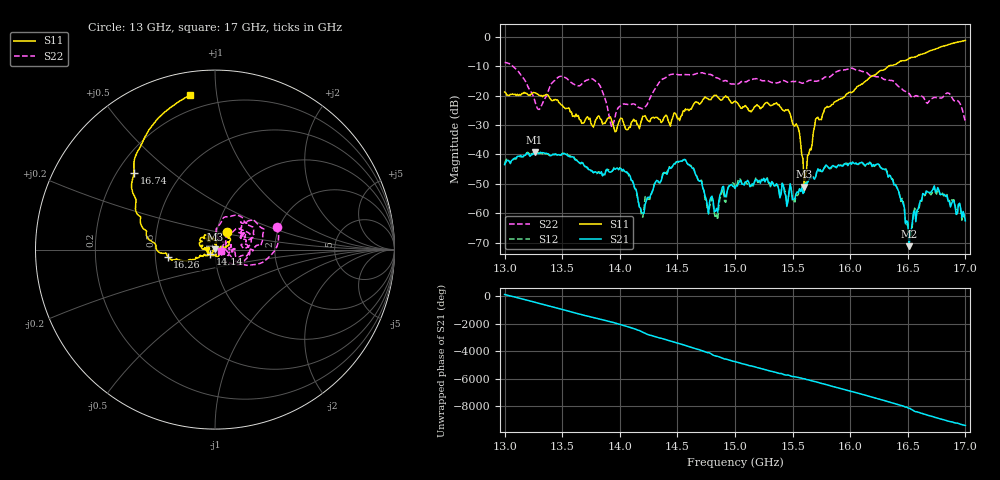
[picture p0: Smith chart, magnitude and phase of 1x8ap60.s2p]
!Keysight Technologies,P9374A,MY57211807,A.19.30.04
!Date: Friday, May 08, 2026 15:01:48
!Correction: S11(C  2-Port  )
!S21(C  2-Port  )
!S12(C  2-Port  )
!S22(C  2-Port  )
!S2P File: Measurements: S11, S21, S12, S22:
# Hz S  dB  R 50
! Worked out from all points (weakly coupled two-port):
!   401 points, 13 GHz to 17 GHz, reference 50 ohm
!   highest |S21| = -39.16 dB at 13.26 GHz (marker M1); lowest = -71.2 dB at 16.51 GHz (marker M2)
!   lowest |S11| = -50.9 dB at 15.6 GHz (marker M3), VSWR 1.01, Z = 50.1 + j0.25 ohm
!   |S11| at or under -10 dB: start of sweep to 16.33 GHz
!   |S22| runs from -30.7 to -8.7 dB; largest |S21 - S12| = 0.00082
!   S11 on the Smith chart (normalised r, x): 13 GHz: 1.11, +0.22; 14.14 GHz: 0.94, -0.05; 16.26 GHz: 0.58, -0.05; 16.74 GHz: 0.27, +0.37; 17 GHz: 0.12, +0.85
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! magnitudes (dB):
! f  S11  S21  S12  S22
! 13 GHz  -18.7  -43.5  -43.2  -8.7
! 13.26 GHz  -19.0  -39.2  -39.1  -21.5
! 13.48 GHz  -22.6  -40.2  -40.4  -13.4
! 13.67 GHz  -29.4  -42.6  -42.9  -16.0
! 13.82 GHz  -26.9  -46.2  -45.9  -16.1
! 13.93 GHz  -28.6  -45.8  -45.8  -30.7
! 14.14 GHz  -28.4  -51.8  -52.0  -23.2
! 14.19 GHz  -28.3  -59.8  -61.0  -24.4
! 14.34 GHz  -28.0  -49.5  -49.6  -15.6
! 14.56 GHz  -25.3  -41.7  -41.8  -12.8
! 14.84 GHz  -19.9  -58.4  -60.6  -13.9
! 15 GHz  -21.8  -51.6  -51.1  -16.1
! 15.46 GHz  -24.7  -55.8  -55.7  -15.4
! 15.55 GHz  -31.1  -53.0  -53.5  -15.3
! 15.6 GHz  -50.9  -52.8  -52.8  -15.6
! 15.67 GHz  -36.3  -48.0  -47.6  -14.8
! 15.79 GHz  -24.1  -43.6  -43.8  -13.5
! 16.26 GHz  -11.5  -44.1  -44.3  -13.6
! 16.34 GHz  -9.8  -47.1  -47.0  -14.7
! 16.51 GHz  -7.3  -71.2  -70.1  -19.2
! 16.74 GHz  -4.1  -52.7  -52.9  -20.6
! 17 GHz  -1.2  -62.6  -62.6  -29.0
